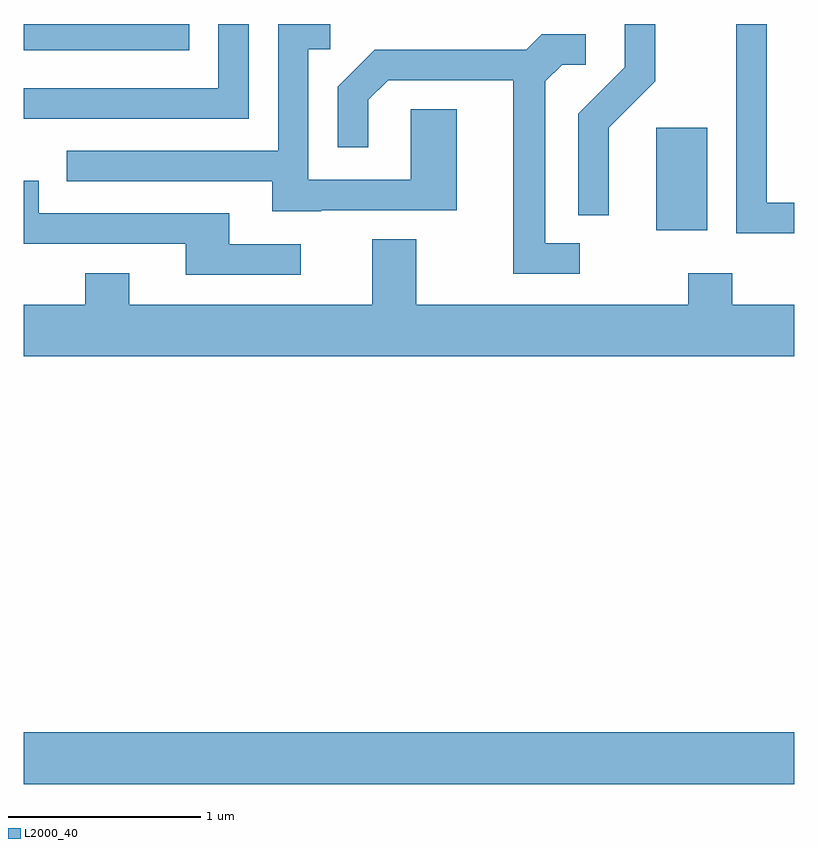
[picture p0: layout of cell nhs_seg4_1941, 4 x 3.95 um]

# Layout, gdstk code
import gdstk
lib = gdstk.Library(unit=1e-6, precision=1e-09)
def R(c, l, rs):  # rectangles x0, y0, x1, y1
    for r in rs: c.add(gdstk.rectangle(r[:2], r[2:], *l))
def P(c, l, *ps):  # polygons
    for p in ps: c.add(gdstk.Polygon(p, *l))
L2000_40 = (2000, 40)

nhs_seg4_1941 = lib.new_cell('nhs_seg4_1941')
R(nhs_seg4_1941, L2000_40, [(241.611,1328.036,245.611,1328.304), (244.896,1330.911,245.159,1331.444), (241.611,1331.846,242.469,1331.982)])
P(nhs_seg4_1941, L2000_40, [(243.155,1331.016),(243.859,1331.016),(243.859,1331.539),(243.621,1331.539),(243.621,1331.174),(243.089,1331.174),(243.089,1331.851),(243.203,1331.851),(243.203,1331.982),(242.931,1331.982),(242.931,1331.324),(241.833,1331.324),(241.833,1331.166),(242.901,1331.166),(242.901,1331.011),(243.155,1331.011)],
  [(242.779,1331.982),(242.621,1331.982),(242.621,1331.649),(241.611,1331.649),(241.611,1331.491),(242.779,1331.491)],
  [(244.649,1331.444),(244.889,1331.684),(244.889,1331.982),(244.731,1331.982),(244.731,1331.757),(244.491,1331.517),(244.491,1330.988),(244.649,1330.988)],
  [(245.611,1331.054),(245.469,1331.054),(245.469,1331.982),(245.311,1331.982),(245.311,1330.896),(245.611,1330.896)],
  [(244.498,1330.844),(244.319,1330.844),(244.319,1331.684),(244.407,1331.771),(244.528,1331.771),(244.528,1331.929),(244.299,1331.929),(244.219,1331.849),(243.434,1331.849),(243.241,1331.657),(243.241,1331.343),(243.399,1331.343),(243.399,1331.589),(243.502,1331.691),(244.151,1331.691),(244.151,1330.686),(244.498,1330.686)],
  [(243.048,1330.839),(242.679,1330.839),(242.679,1330.999),(241.689,1330.999),(241.689,1331.169),(241.611,1331.169),(241.611,1330.841),(242.451,1330.841),(242.451,1330.681),(243.048,1330.681)],
  [(241.931,1330.689),(241.931,1330.524),(241.611,1330.524),(241.611,1330.256),(245.611,1330.256),(245.611,1330.524),(245.289,1330.524),(245.289,1330.689),(245.061,1330.689),(245.061,1330.524),(243.649,1330.524),(243.649,1330.864),(243.421,1330.864),(243.421,1330.524),(242.159,1330.524),(242.159,1330.689)])

lib.write_gds('nhs_seg4_1941.gds')
